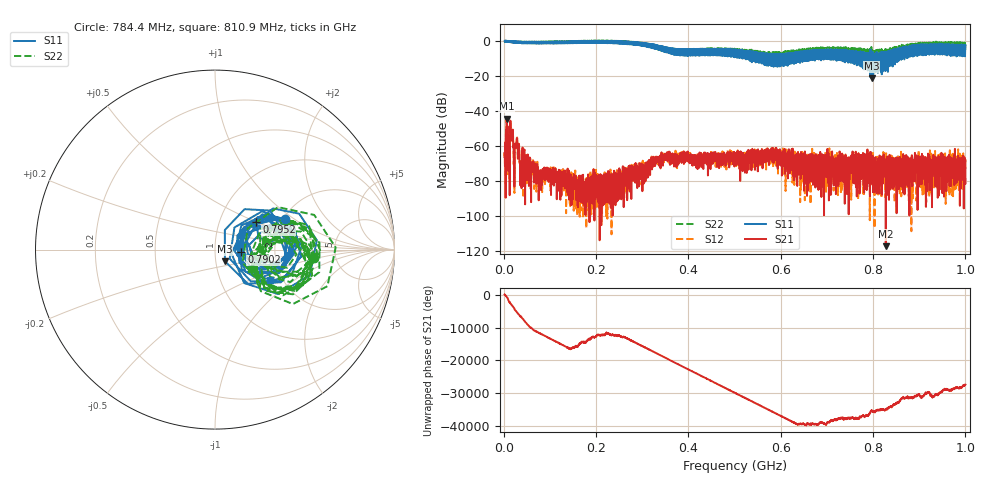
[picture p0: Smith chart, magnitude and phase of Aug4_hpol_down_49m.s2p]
!Keysight Technologies N9923A: A.12.45
!Date: Tuesday, 05 August 2025 19:14:51
!Timezone: (UTC+08:00) Kuala Lumpur, Singapore
!Model: N9923A
!Serial: MY61181427
!GPS Latitude:
!GPS Longitude:
!GPS TimeStamp: 0001-01-01 00:00:00Z
!GPS Seconds Since Last Read: 0
!CHECKSUM:0877690580
!Correction: S11(ON U)S21(ON U)S12(ON U)S22(ON U)
!S2P File: Measurements:S11,S21,S12,S22:
# Hz S DB R 50
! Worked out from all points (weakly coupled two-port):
!   4001 points, 2 MHz to 1 GHz, reference 50 ohm
!   highest |S21| = -44.47 dB at 6.491 MHz (marker M1); lowest = -117.2 dB at 827.6 MHz (marker M2)
!   lowest |S11| = -21.4 dB at 796.9 MHz (marker M3), VSWR 1.19, Z = 55.4 - j7.23 ohm
!   |S11| at or under -10 dB: 575.8174 MHz to 576.6038 MHz (786.4 kHz wide, 0.136 % of centre); 582.5676 MHz to 583.3661 MHz (798.6 kHz wide, 0.137 % of centre); 589.3173 MHz to 590.1185 MHz (801.2 kHz wide, 0.136 % of centre)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
!   |S22| runs from -15.4 to 0.3 dB; largest |S21 - S12| = 0.0011
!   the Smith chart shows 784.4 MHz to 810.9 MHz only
!   S11 on the Smith chart (normalised r, x): 784.4 MHz: 2.05, +0.86; 790.2 MHz: 1.35, -0.04; 795.2 MHz: 1.50, +0.50; 810.9 MHz: 1.72, -0.66
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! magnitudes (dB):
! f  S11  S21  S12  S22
! 2 MHz  -0.1  -66.4  -66.1  -0.1
! 6.491 MHz  0.0  -44.5  -44.5  -0.1
! 16.72 MHz  -0.1  -54.8  -54.6  0.0
! 29.2 MHz  -1.0  -55.7  -55.4  -1.1
! 38.68 MHz  -0.7  -84.1  -82.5  -0.6
! 44.41 MHz  -1.3  -62.6  -63.0  -1.2
! 78.85 MHz  -0.6  -79.5  -75.8  -0.4
! 168.4 MHz  -1.2  -76.9  -82.6  -1.0
! 242.3 MHz  -1.4  -87.0  -82.4  -1.0
! 334.8 MHz  -3.8  -67.1  -70.6  -4.5
! 501 MHz  -5.7  -70.9  -66.6  -6.4
! 578.8 MHz  -7.4  -63.2  -65.8  -6.6
! 667.4 MHz  -8.8  -68.4  -67.1  -8.7
! 784.4 MHz  -7.4  -78.5  -77.4  -5.2
! 790.2 MHz  -16.6  -72.6  -70.2  -8.6
! 795.2 MHz  -11.2  -63.6  -65.3  -10.9
! 796.9 MHz  -21.4  -67.9  -82.9  -7.5
! 810.9 MHz  -9.2  -68.4  -87.7  -12.8
! 827.6 MHz  -11.4  -117.2  -70.9  -11.7
! 833.8 MHz  -10.5  -73.9  -66.7  -5.4
! 917.9 MHz  -4.2  -70.8  -74.0  -1.1
! 1 GHz  -2.4  -68.1  -68.5  -2.1
